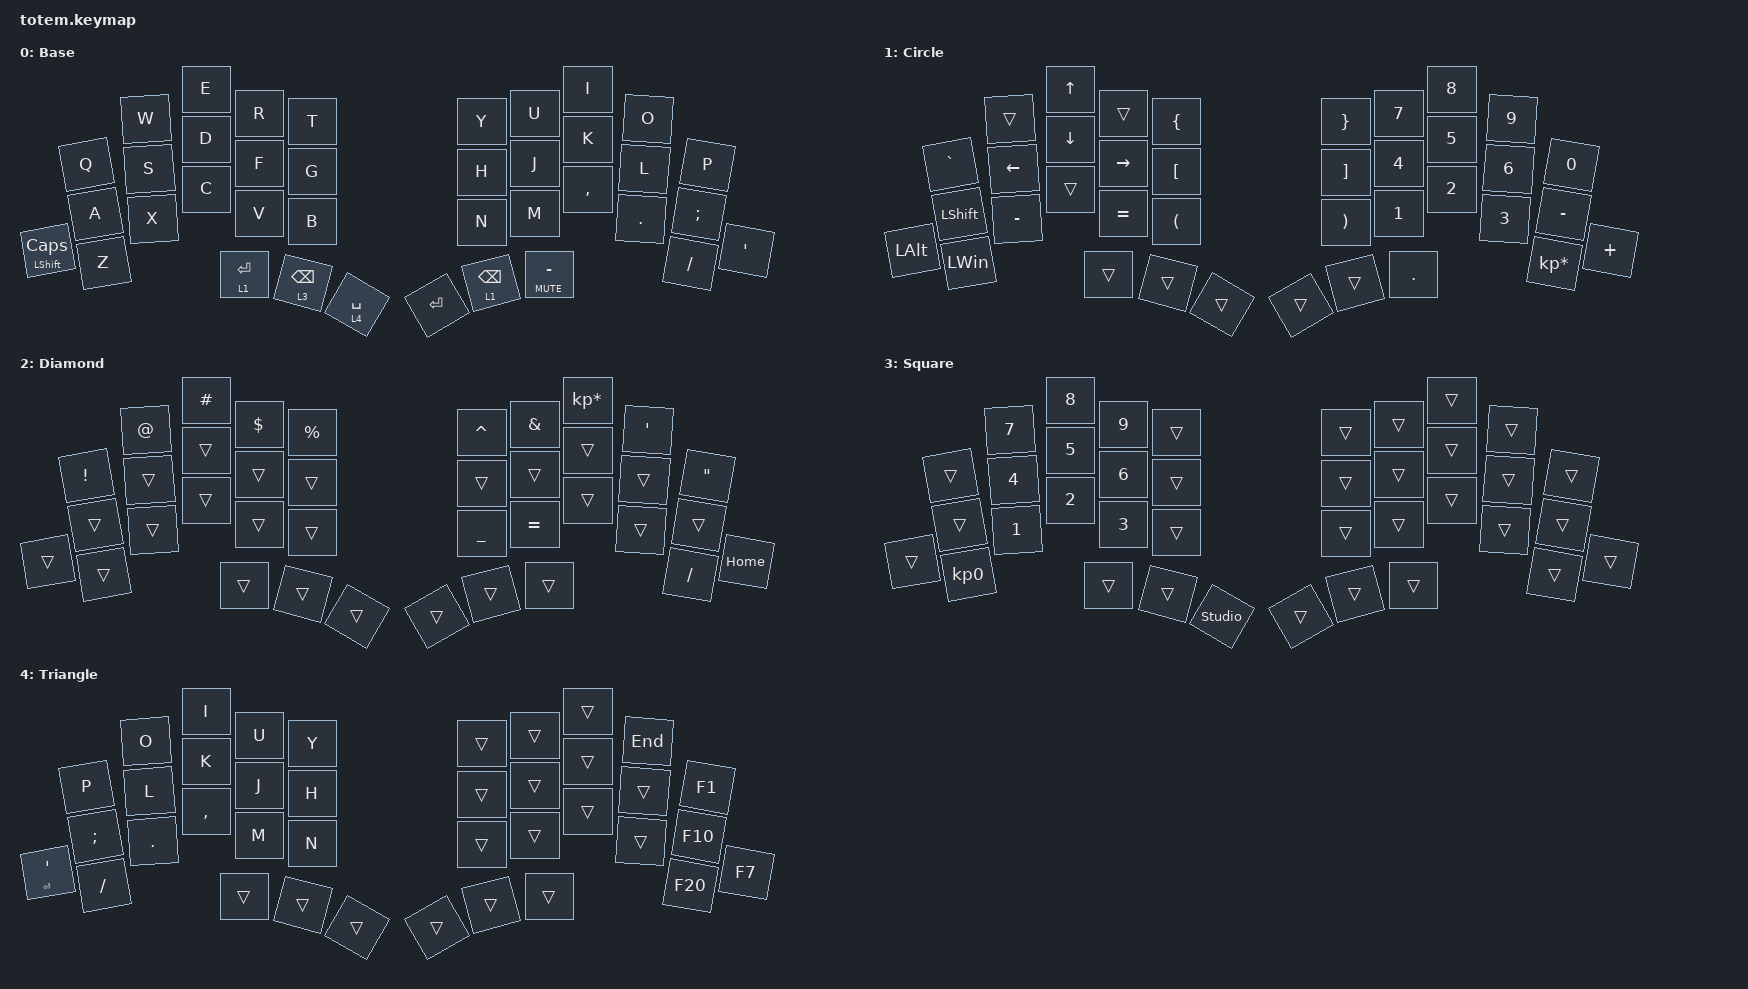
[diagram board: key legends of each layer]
#include <behaviors.dtsi>
#include <dt-bindings/zmk/bt.h>
#include <dt-bindings/zmk/keys.h>
#include <dt-bindings/zmk/outputs.h>
#include <dt-bindings/zmk/pointing.h>

#define Base        0
#define Cir         1
#define Dia         2
#define Square      3
#define Tri         4

&mt {
    quick-tap-ms = <100>;
    flavor = "tap-preferred";
    tapping-term-ms = <170>;
};

&lt {
    tapping-term-ms = <240>;
    flavor = "balanced";
    quick-tap-ms = <150>;
};

/ {
    behaviors {
        hm: homerow_mods {
            compatible = "zmk,behavior-hold-tap";
            #binding-cells = <2>;
            flavor = "tap-preferred";
            tapping-term-ms = <240>;
            quick-tap-ms = <150>;
            bindings = <&kp>, <&kp>;
        };
    };

    combos {
        compatible = "zmk,combos";

        Escape {
            bindings = <&kp ESC>;
            key-positions = <0 1 33>;
        };

        Unlock {
            bindings = <&studio_unlock>;
            key-positions = <34 20 2>;
        };

        Tab {
            bindings = <&kp TAB>;
            key-positions = <10 11 34>;
        };

        Space {
            bindings = <&kp SPACE>;
            key-positions = <13 12 11>;
        };

        Enter {
            bindings = <&kp RET>;
            key-positions = <10 11 12>;
        };

        CTRL_Tab {
            bindings = <&kp LC(TAB)>;
            key-positions = <10 11 34 2>;
        };

        layer2 {
            bindings = <&mo 2>;
            key-positions = <32 33>;
        };
    };

    keymap {
        compatible = "zmk,keymap";

        Base {
            display-name = "Base";
            bindings = <
                     &kp Q  &kp W  &kp E        &kp R            &kp T          &kp Y    &kp U       &kp I             &kp O    &kp P
                     &kp A  &kp S  &kp D        &kp F            &kp G          &kp H    &kp J       &kp K             &kp L    &kp SEMICOLON
&mt LEFT_SHIFT CAPS  &kp Z  &kp X  &kp C        &kp V            &kp B          &kp N    &kp M       &kp COMMA         &kp DOT  &kp SLASH      &kp APOSTROPHE
                                   &lt 1 ENTER  &lt 3 BACKSPACE  &lt 4 SPACE    &kp RET  &lt 1 BSPC  &mt K_MUTE MINUS
            >;
        };

        Circle {
            display-name = "Circle";
            bindings = <
              &kp GRAVE       &trans     &kp UP_ARROW  &trans     &kp LEFT_BRACE      &kp RIGHT_BRACE    &kp NUMBER_7  &kp NUMBER_8  &kp NUMBER_9  &kp NUMBER_0
              &kp LEFT_SHIFT  &kp LEFT   &kp DOWN      &kp RIGHT  &kp LEFT_BRACKET    &kp RIGHT_BRACKET  &kp NUMBER_4  &kp NUMBER_5  &kp NUMBER_6  &kp MINUS
&kp LEFT_ALT  &kp LEFT_WIN    &kp MINUS  &trans        &kp EQUAL  &kp LPAR            &kp RPAR           &kp NUMBER_1  &kp NUMBER_2  &kp NUMBER_3  &kp KP_MULTIPLY  &kp PLUS
                                         &trans        &trans     &trans              &trans             &trans        &kp DOT
            >;
        };

        Diamond {
            display-name = "Diamond";
            bindings = <
        &kp EXCL  &kp AT  &kp HASH  &kp DOLLAR  &kp PERCENT    &kp CARET  &kp AMPERSAND  &kp KP_ASTERISK  &kp SQT  &kp DQT
        &trans    &trans  &trans    &trans      &trans         &trans     &trans         &trans           &trans   &trans
&trans  &trans    &trans  &trans    &trans      &trans         &kp UNDER  &kp EQUAL      &trans           &trans   &kp SLASH  &kp HOME
                          &trans    &trans      &trans         &trans     &trans         &trans
            >;
        };

        Square {
            display-name = "Square";
            bindings = <
        &trans           &kp NUMBER_7  &kp NUMBER_8  &kp NUMBER_9  &trans            &trans  &trans  &trans  &trans  &trans
        &trans           &kp NUMBER_4  &kp NUMBER_5  &kp NUMBER_6  &trans            &trans  &trans  &trans  &trans  &trans
&trans  &kp KP_NUMBER_0  &kp NUMBER_1  &kp NUMBER_2  &kp NUMBER_3  &trans            &trans  &trans  &trans  &trans  &trans  &trans
                                       &trans        &trans        &studio_unlock    &trans  &trans  &trans
            >;
        };

        Triangle {
            display-name = "Triangle";
            bindings = <
                      &kp P          &kp O       &kp I      &kp U   &kp Y     &trans  &trans  &trans  &kp END  &kp F1
                      &kp SEMICOLON  &kp L       &kp K      &kp J   &kp H     &trans  &trans  &trans  &trans   &kp F10
&mt ENTER APOSTROPHE  &kp SLASH      &kp PERIOD  &kp COMMA  &kp M   &kp N     &trans  &trans  &trans  &trans   &kp F20  &kp F7
                                                 &trans     &trans  &trans    &trans  &trans  &trans
            >;
        };
    };
};
